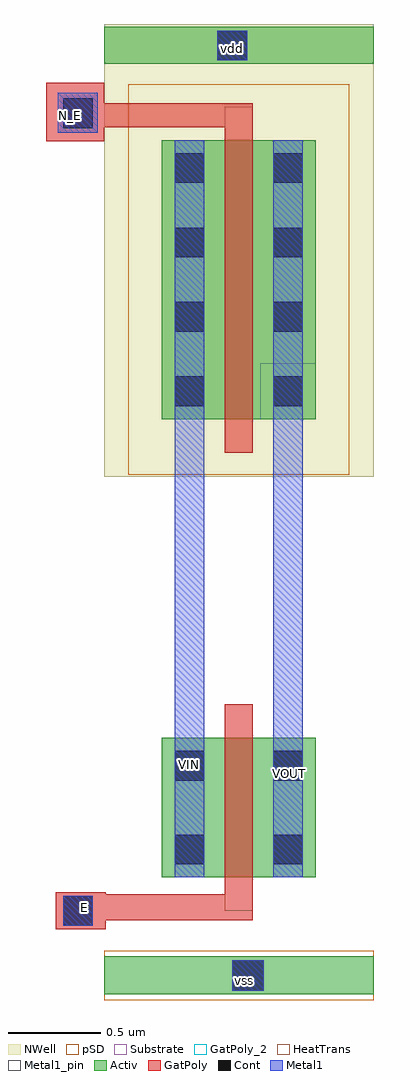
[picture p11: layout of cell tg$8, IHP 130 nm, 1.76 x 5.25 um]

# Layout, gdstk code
import gdstk
lib = gdstk.Library(unit=1e-6, precision=5e-09)
def R(c, l, rs):  # rectangles x0, y0, x1, y1
    for r in rs: c.add(gdstk.rectangle(r[:2], r[2:], *l))
def A(c, l, x, y, w, h, nx, ny, dx, dy):  # array of equal rectangles
    R(c, l, [(x+i*dx, y+j*dy, x+i*dx+w, y+j*dy+h) for i in range(nx) for j in range(ny)])
Activ = (1, 0)
GatPoly = (5, 0)
GatPoly_2 = (5, 2)
Cont = (6, 0)
Metal1 = (8, 0)
Metal1_pin = (8, 2)
pSD = (14, 0)
NWell = (31, 0)
Substrate = (40, 0)
HeatTrans = (51, 0)

pmos_1_11 = lib.new_cell('pmos$1$11')
R(pmos_1_11, Activ, [(0,0,0.3,0.3), (0,0,0.83,1.5), (0.53,0,0.83,0.3)])
R(pmos_1_11, GatPoly, [(0.34,-0.18,0.49,1.68), (0.34,-0.18,0.49,1.68)])
A(pmos_1_11, Cont, 0.07, 0.07, 0.16, 0.16, 1, 4, 0, 0.4)
A(pmos_1_11, Cont, 0.6, 0.07, 0.16, 0.16, 1, 4, 0, 0.4)
R(pmos_1_11, Metal1, [(0.07,0,0.23,1.5), (0.07,0,0.23,1.5), (0.6,0,0.76,1.5), (0.6,0,0.76,1.5)])
R(pmos_1_11, pSD, [(-0.18,-0.3,1.01,1.8)])
R(pmos_1_11, NWell, [(-0.31,-0.31,1.14,1.81)])
R(pmos_1_11, Substrate, [(0.53,0,0.83,0.3)])
R(pmos_1_11, HeatTrans, [(0.34,-0.18,0.49,1.68)])
pmos_1_11.add(gdstk.Label('pmos', (0.415,0.75), layer=63, texttype=0))
pmos_1_11.add(gdstk.Label('pmos', (0.415,0.75), layer=51, texttype=0))

nmos_1_8 = lib.new_cell('nmos$1$8')
R(nmos_1_8, Activ, [(0,0,0.3,0.3), (0,0,0.83,0.75), (0.53,0,0.83,0.3)])
R(nmos_1_8, GatPoly, [(0.34,-0.18,0.49,0.93)])
R(nmos_1_8, GatPoly_2, [(0.34,-0.18,0.49,0.93)])
R(nmos_1_8, Cont, [(0.07,0.07,0.23,0.23), (0.6,0.07,0.76,0.23), (0.07,0.52,0.23,0.68), (0.6,0.52,0.76,0.68)])
R(nmos_1_8, Metal1, [(0.07,0,0.23,0.75), (0.6,0,0.76,0.75)])
R(nmos_1_8, Metal1_pin, [(0.07,0,0.23,0.75), (0.6,0,0.76,0.75)])
R(nmos_1_8, HeatTrans, [(0.34,-0.18,0.49,0.93)])
nmos_1_8.add(gdstk.Label('nmos', (0.415,0.375), layer=63, texttype=0))
nmos_1_8.add(gdstk.Label('nmos', (0.415,0.375), layer=51, texttype=0))

tg_8 = lib.new_cell('tg$8')
R(tg_8, Activ, [(-1.3,-0.425,0.15,-0.22), (-1.3,4.58,0.15,4.78)])
R(tg_8, GatPoly, [(-1.56,-0.075,-1.29,0.125), (-1.29,-0.025,-0.5,0.115), (-1.61,4.165,-1.3,4.48), (-1.3,4.24,-0.5,4.37)])
R(tg_8, Cont, [(-0.61,-0.405,-0.44,-0.24), (-1.52,-0.055,-1.36,0.105), (-1.52,4.235,-1.36,4.395), (-0.69,4.6,-0.53,4.76), (-0.69,4.6,-0.53,4.76)])
R(tg_8, Metal1, [(-0.61,-0.405,-0.44,-0.24), (-1.52,-0.055,-1.36,0.105), (-0.92,0.725,-0.76,0.885), (-0.39,0.725,-0.23,0.885), (-0.92,0.955,-0.76,2.67), (-0.39,0.955,-0.23,2.67), (-1.55,4.21,-1.335,4.425), (-0.69,4.6,-0.53,4.76)])
R(tg_8, Metal1_pin, [(-0.61,-0.405,-0.44,-0.24), (-1.52,-0.055,-1.36,0.105), (-0.92,0.725,-0.76,0.885), (-0.39,0.725,-0.23,0.885), (-1.52,4.235,-1.36,4.395), (-0.69,4.6,-0.53,4.76)])
R(tg_8, pSD, [(-1.3,-0.455,0.15,-0.19)])
R(tg_8, NWell, [(-1.3,4.48,0.15,4.795)])
tg_8.add(gdstk.Reference(pmos_1_11, (-0.99,2.67)))
tg_8.add(gdstk.Reference(nmos_1_8, (-0.99,0.205)))
tg_8.add(gdstk.Label('E', (-1.405,0.045), layer=8, texttype=2))
tg_8.add(gdstk.Label('N_E', (-1.48,4.305), layer=8, texttype=2))
tg_8.add(gdstk.Label('VIN', (-0.84,0.81), layer=8, texttype=2))
tg_8.add(gdstk.Label('VOUT', (-0.305,0.765), layer=8, texttype=2))
tg_8.add(gdstk.Label('vdd', (-0.61,4.665), layer=8, texttype=2))
tg_8.add(gdstk.Label('vss', (-0.545,-0.35), layer=8, texttype=2))

lib.write_gds('tg_8.gds')
